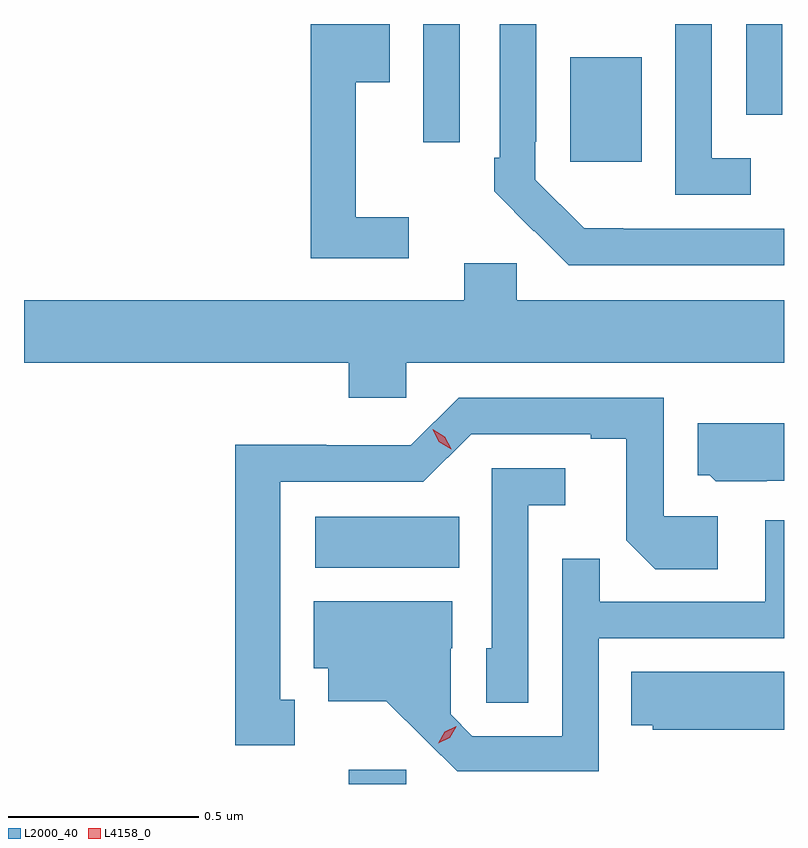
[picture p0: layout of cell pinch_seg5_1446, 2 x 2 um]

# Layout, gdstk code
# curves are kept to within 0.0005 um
import gdstk
lib = gdstk.Library(unit=1e-6, precision=1e-09)
def R(c, l, rs):  # rectangles x0, y0, x1, y1
    for r in rs: c.add(gdstk.rectangle(r[:2], r[2:], *l))
def P(c, l, *ps):  # polygons
    for p in ps: c.add(gdstk.Polygon(p, *l))
L2000_40 = (2000, 40)
L4158_0 = (4158, 0)

pinch_seg5_1446 = lib.new_cell('pinch_seg5_1446')
R(pinch_seg5_1446, L2000_40, [(157.889,903.603,158.04,903.64), (157.8,904.172,158.18,904.306), (158.471,905.241,158.659,905.515), (158.085,905.292,158.181,905.603), (158.934,905.364,159.03,905.603)])
P(pinch_seg5_1446, L2000_40, [(158.947,905.25),(158.844,905.25),(158.844,905.603),(158.748,905.603),(158.748,905.154),(158.947,905.154)],
  [(158.047,905.095),(157.907,905.095),(157.907,905.45),(157.996,905.45),(157.996,905.603),(157.789,905.603),(157.789,904.986),(158.047,904.986)],
  [(159.034,905.064),(158.611,905.064),(158.611,905.065),(158.508,905.065),(158.379,905.193),(158.379,905.293),(158.382,905.293),(158.382,905.603),(158.286,905.603),(158.286,905.251),(158.271,905.251),(158.271,905.163),(158.376,905.058),(158.377,905.059),(158.468,904.968),(159.034,904.968)],
  [(158.04,904.712),(159.034,904.712),(159.034,904.876),(158.331,904.876),(158.331,904.974),(158.192,904.974),(158.192,904.876),(157.034,904.876),(157.034,904.712),(157.889,904.712),(157.889,904.619),(158.04,904.619)],
  [(157.747,903.825),(157.708,903.825),(157.708,904.398),(158.085,904.398),(158.211,904.524),(158.525,904.524),(158.525,904.512),(158.619,904.512),(158.619,904.244),(158.695,904.168),(158.86,904.168),(158.86,904.308),(158.718,904.308),(158.718,904.62),(158.178,904.62),(158.052,904.494),(157.83,904.494),(157.83,904.496),(157.59,904.496),(157.59,903.705),(157.747,903.705)],
  [(158.988,904.401),(159.034,904.401),(159.034,904.552),(158.807,904.552),(158.807,904.416),(158.838,904.416),(158.854,904.4),(158.988,904.4)],
  [(158.361,904.337),(158.458,904.337),(158.458,904.434),(158.265,904.434),(158.265,903.96),(158.25,903.96),(158.25,903.817),(158.361,903.817)],
  [(158.547,903.987),(159.034,903.987),(159.034,904.297),(158.985,904.297),(158.985,904.083),(158.549,904.083),(158.549,904.196),(158.451,904.196),(158.451,903.729),(158.214,903.729),(158.157,903.786),(158.157,903.96),(158.161,903.96),(158.161,904.084),(157.796,904.084),(157.796,903.908),(157.835,903.908),(157.835,903.821),(157.987,903.821),(158.174,903.636),(158.547,903.636)],
  [(159.034,903.898),(158.632,903.898),(158.632,903.758),(158.688,903.758),(158.688,903.746),(159.034,903.746)])
P(pinch_seg5_1446, L4158_0, [(158.124,903.71),(158.124,903.71),(158.141,903.74),(158.172,903.755),(158.172,903.755),(158.172,903.754),(158.154,903.725),(158.124,903.71)],
  [(158.158,904.484),(158.126,904.504),(158.109,904.536),(158.109,904.537),(158.109,904.537),(158.141,904.517),(158.158,904.485),(158.158,904.484)])

lib.write_gds('pinch_seg5_1446.gds')
